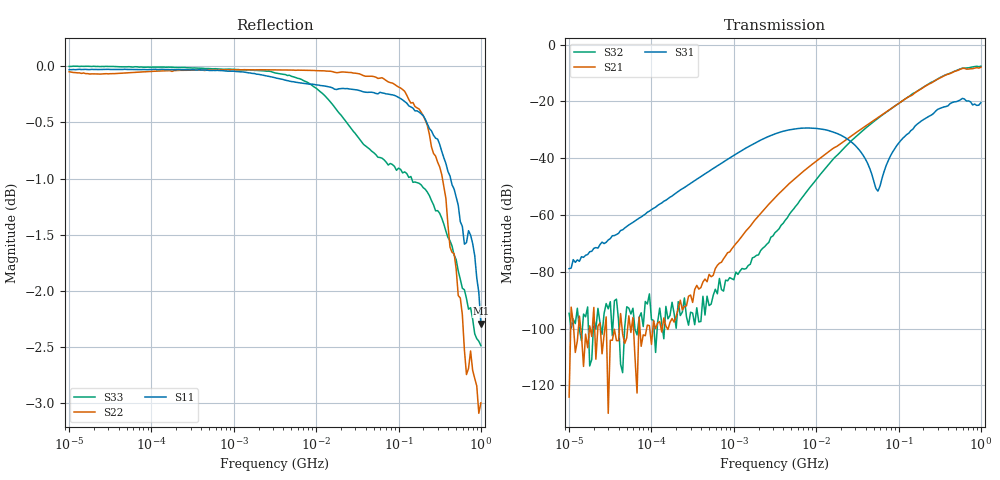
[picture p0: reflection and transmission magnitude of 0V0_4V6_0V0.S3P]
!Keysight Technologies,E5080A,MY55100144,A.11.70.03
!Date: Monday, November 13, 2017 17:25:19
!Correction: S11(Full 3 Port(1,2,3))
!S12(Full 3 Port(1,2,3))
!S13(Full 3 Port(1,2,3))
!S21(Full 3 Port(1,2,3))
!S22(Full 3 Port(1,2,3))
!S23(Full 3 Port(1,2,3))
!S31(Full 3 Port(1,2,3))
!S32(Full 3 Port(1,2,3))
!S33(Full 3 Port(1,2,3))
!S3P File: Measurements: <S11,S12,S13>,
!<S21,S22,S23>,
!<S31,S32,S33>:Log Frequency Sweep
# Hz S  RI  R 50
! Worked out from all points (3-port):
!   201 points, 10 kHz to 1 GHz, reference 50 ohm
!   strongest paths, dB at 10 kHz, 177.8 kHz, 3.162 MHz, 56.23 MHz, 1 GHz:
!     S31: -78.9, -53.3, -31.5, -51.6, -20.5
!     S21: -124.2, -96.5, -53.9, -25.7, -8.0
!     S32: -94.6, -90.7, -66.2, -26.0, -7.6
!   lowest |S11| = -2.3 dB at 1 GHz (marker M1), VSWR 7.63, Z = 381 + j1.31 ohm
!   |S11| at or under -10 dB: nowhere
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10000  0.9965 -0.00549  -4.34e-06 -1.29e-05  -7.63e-06 0.000135
       2e-07 -5.87e-07  0.4709 -0.8758  -1.53e-05 7.63e-06
       -1.8e-05 0.000112  3.22e-06 -1.83e-05  0.9998 -0.00223
50118.72  0.9964 -0.0285  3.2e-06 1.94e-05  2.02e-05 0.000625
          -5.59e-06 4.01e-06  -0.7914 -0.6002  -3.63e-06 8.19e-06
          3.12e-05 0.000626  -1.32e-05 2.02e-05  0.9994 -0.00569
595662.1  0.9407 -0.3264  -7.81e-05 6.13e-05  0.0016 0.00677
          -9.5e-05 6.23e-05  -0.995 -0.054  -1.46e-05 3.35e-05
          0.00161 0.00673  -1.4e-05 4.71e-05  0.9959 -0.0575
3162278  0.1057 -0.9826  -0.00131 0.00153  0.0207 0.0169
         -0.00131 0.00153  -0.9963 0.00461  -0.000397 0.000242
         0.0208 0.0168  -0.000417 0.000253  0.9502 -0.2892
2.113489e7  -0.9437 -0.2553  -0.00114 0.0193  0.0194 -0.0146
            -0.00111 0.0192  -0.9894 0.098  -0.00854 0.0116
            0.0194 -0.0145  -0.00853 0.0116  -0.0181 -0.9486
5.623413e7  -0.9705 0.0565  0.00897 0.0511  0.00254 0.000665
            0.009 0.051  -0.9532 0.2585  -0.00522 0.0499
            0.00255 0.00065  -0.00524 0.05  -0.7611 -0.5006
1.059254e8  -0.9328 0.2566  0.0375 0.0893  0.00784 0.0187
            0.0377 0.0895  -0.8607 0.4644  0.0231 0.0945
            0.00785 0.0187  0.0231 0.0944  -0.8951 -0.091
3.758374e8  -0.3692 0.8266  0.29 0.0332  0.0809 -0.00594
            0.2903 0.0331  0.0975 0.8679  0.2896 0.0579
            0.0809 -0.0059  0.2894 0.0578  -0.487 0.69
7.079458e8  0.4634 0.7065  0.1987 -0.3126  0.012 -0.1013
            0.1984 -0.3131  0.6979 0.226  0.2461 -0.3031
            0.0121 -0.1013  0.2462 -0.3028  0.2561 0.7363
1e9  0.7682 0.000703  -0.1003 -0.3852  -0.0569 -0.0755
     -0.1006 -0.3854  0.5908 -0.3905  -0.0458 -0.4146
     -0.0566 -0.076  -0.0456 -0.4145  0.6829 0.3124
